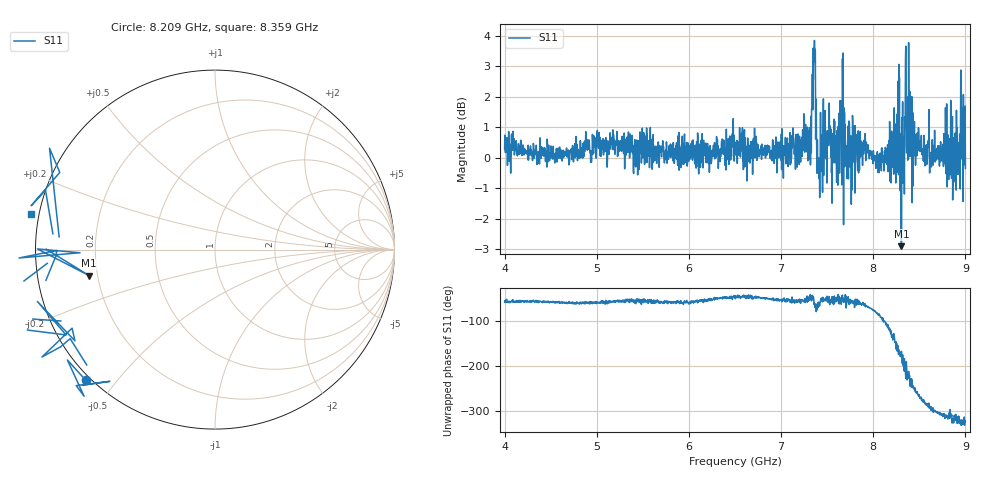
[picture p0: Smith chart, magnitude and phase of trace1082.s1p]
! Created with skrf 1.8.0 (http://scikit-rf.org).
# Hz S RI R 50.0
!freq ReS11 ImS11
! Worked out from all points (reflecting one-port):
!   1601 points, 4 GHz to 9 GHz, reference 50 ohm
!   lowest |S11| = -2.9 dB at 8.306 GHz (marker M1), VSWR 6.04, Z = 8.37 - j4.98 ohm
!   phase of S11 starts at -58 deg and turns -267 deg over the sweep
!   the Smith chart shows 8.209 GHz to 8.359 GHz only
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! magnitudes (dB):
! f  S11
! 4 GHz  0.3
! 4.625 GHz  -0.1
! 5.25 GHz  0.3
! 5.875 GHz  -0.1
! 6.5 GHz  0.5
! 7.125 GHz  0.4
! 7.303 GHz  0.8
! 7.356 GHz  3.1
! 7.409 GHz  -0.4
! 7.503 GHz  0.7
! 7.609 GHz  0.9
! 7.638 GHz  0.8
! 7.65 GHz  1.9
! 7.691 GHz  -0.3
! 7.703 GHz  -0.1
! 7.75 GHz  0.0
! 7.878 GHz  0.4
! 8.062 GHz  -0.5
! 8.228 GHz  1.6
! 8.262 GHz  -0.5
! 8.306 GHz  -2.9
! 8.316 GHz  0.6
! 8.334 GHz  0.7
! 8.375 GHz  -0.1
! 8.447 GHz  1.2
! 8.875 GHz  0.6
! 8.972 GHz  0.3
! 9 GHz  -0.4
